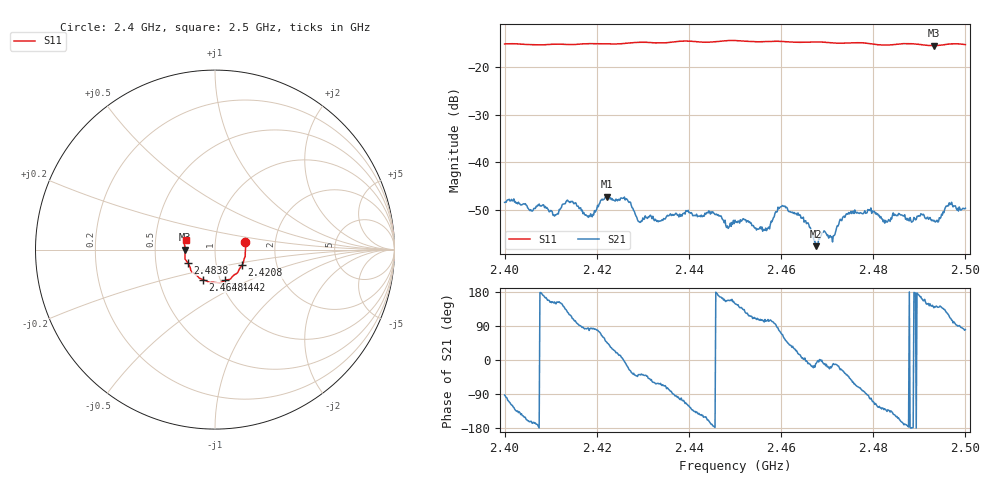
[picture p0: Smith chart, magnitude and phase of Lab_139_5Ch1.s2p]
# Hz S RI R 50
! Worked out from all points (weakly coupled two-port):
!   601 points, 2.4 GHz to 2.5 GHz, reference 50 ohm
!   highest |S21| = -47.17 dB at 2.4222 GHz (marker M1); lowest = -57.5 dB at 2.4675 GHz (marker M2)
!   lowest |S11| = -15.6 dB at 2.4932 GHz (marker M3), VSWR 1.40, Z = 35.8 - j0.0719 ohm
!   |S11| at or under -10 dB: start of sweep to end of sweep
!   S12 and S22 are empty: the file has one direction only
!   S11 on the Smith chart (normalised r, x): 2.4 GHz: 1.40, +0.12; 2.4208 GHz: 1.33, -0.24; 2.4442 GHz: 1.05, -0.37; 2.4648 GHz: 0.83, -0.29; 2.4838 GHz: 0.73, -0.11; 2.5 GHz: 0.72, +0.08
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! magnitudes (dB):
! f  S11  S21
! 2.4 GHz  -15.3  -48.4
! 2.4167 GHz  -15.2  -50.1
! 2.4187 GHz  -15.2  -50.7
! 2.4208 GHz  -15.2  -48.0
! 2.4222 GHz  -15.2  -47.2
! 2.4263 GHz  -15.1  -47.6
! 2.4293 GHz  -14.9  -52.5
! 2.4333 GHz  -15.0  -52.4
! 2.4442 GHz  -14.9  -50.6
! 2.45 GHz  -14.5  -52.1
! 2.4565 GHz  -14.7  -54.2
! 2.4603 GHz  -14.7  -49.0
! 2.4648 GHz  -14.9  -51.5
! 2.4667 GHz  -14.8  -54.6
! 2.4675 GHz  -14.8  -57.5
! 2.4713 GHz  -15.0  -55.3
! 2.4752 GHz  -15.0  -50.2
! 2.4833 GHz  -15.5  -51.9
! 2.4838 GHz  -15.4  -51.6
! 2.4932 GHz  -15.6  -52.1
! 2.4965 GHz  -15.3  -48.4
! 2.5 GHz  -15.4  -49.6
